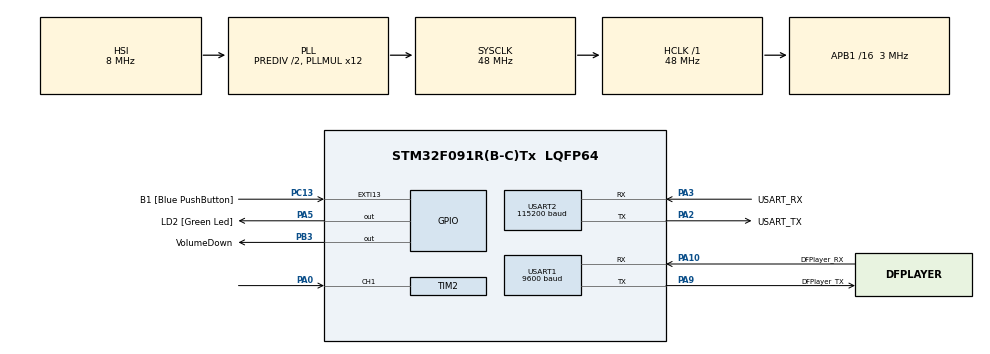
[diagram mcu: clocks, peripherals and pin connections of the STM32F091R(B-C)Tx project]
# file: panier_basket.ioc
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Mcu.Family=STM32F0
PA2.GPIO_PuPd=GPIO_NOPULL
TIM2.Channel-Input_Capture1_from_TI1=TIM_CHANNEL_1
PA10.Mode=Asynchronous
USART1.BaudRate=9600
PC15OSC32_OUT.Signal=RCC_OSC32_OUT
PC13.Signal=GPXTI13
PA9.GPIO_Label=DFPlayer_TX
PA14.GPIO_Label=TCK
PA3.GPIO_PuPd=GPIO_NOPULL
PA2.GPIO_Speed=GPIO_SPEED_FREQ_LOW
VP_TIM16_VS_ClockSourceINT.Mode=Enable_Timer
NVIC.TIM16_IRQn=true\:1\:0\:true\:false\:true\:true\:true
PC13.GPIO_Label=B1 [Blue PushButton]
RCC.APB1CLKDivider=RCC_HCLK_DIV16
PC15OSC32_OUT.Mode=LSE-External-Oscillator
PA3.GPIO_Speed=GPIO_SPEED_FREQ_LOW
USART2.BaudRate=115200
RCC.SYSCLKSource=RCC_SYSCLKSOURCE_PLLCLK
ProjectManager.StackSize=0x400
USART1.VirtualMode-Asynchronous=VM_ASYNC
PA3.Mode=Asynchronous
PA13.Signal=SYS_SWDIO
PA9.Mode=Asynchronous
ProjectManager.TargetToolchain=STM32CubeIDE
PB3.PinState=GPIO_PIN_SET
PA3.GPIO_Mode=GPIO_MODE_AF_PP
RCC.HCLKFreq_Value=48000000
PA9.Signal=USART1_TX
RCC.PLLDivider=RCC_PREDIV_DIV2
RCC.AHBFreq_Value=48000000
PF0-OSC_IN.Mode=HSE-External-Clock-Source
RCC.PREFETCH_ENABLE-AdvancedSettings=1
PA5.Signal=GPIO_Output
board=NUCLEO-F091RC
USART2.VirtualMode-Asynchronous=VM_ASYNC
RCC.PLLMUL=RCC_PLL_MUL12
TIM16.Period=3000 - 1
PB3.GPIO_PuPd=GPIO_PULLUP
VP_TIM2_VS_ClockSourceINT.Mode=Internal
PA14.Mode=Serial_Wire
PA5.GPIO_PuPd=GPIO_NOPULL
NVIC.TIM2_IRQn=true\:0\:0\:false\:false\:true\:true\:true
PA10.GPIO_Label=DFPlayer_RX
PA13.Mode=Serial_Wire
Mcu.Name=STM32F091R(B-C)Tx
PA2.Signal=USART2_TX
PA13.GPIO_Label=TMS
PA0.Signal=S_TIM2_CH1_ETR
RCC.FLatency-AdvancedSettings=FLASH_LATENCY_1
PC14OSC32_IN.Mode=LSE-External-Oscillator
PB3.Signal=GPIO_Output
RCC.SYSCLKFreq_VALUE=48000000
Mcu.Package=LQFP64
TIM2.Prescaler=6 - 1
PA5.GPIO_Label=LD2 [Green Led]
PC13.GPIO_ModeDefaultEXTI=GPIO_MODE_IT_FALLING
USART2.VirtualMode=VM_ASYNC
PA2.GPIO_Label=USART_TX
SH.S_TIM2_CH1_ETR.0=TIM2_CH1,Input_Capture1_from_TI1
PA10.Signal=USART1_RX
PA14.Signal=SYS_SWCLK
ProjectManager.HeapSize=0x200
PA5.GPIO_Speed=GPIO_SPEED_FREQ_LOW
RCC.APB1TimFreq_Value=6000000
PA2.Mode=Asynchronous
TIM2.AutoReloadPreload=TIM_AUTORELOAD_PRELOAD_ENABLE
TIM16.Prescaler=60000 - 1
PF0-OSC_IN.Signal=RCC_OSC_IN
NVIC.USART1_IRQn=true\:1\:0\:true\:false\:true\:true\:true
RCC.APB1Freq_Value=3000000
PA5.GPIO_Mode=GPIO_MODE_OUTPUT_PP
PF1-OSC_OUT.Signal=RCC_OSC_OUT
NVIC.EXTI4_15_IRQn=true\:1\:0\:true\:false\:true\:true\:true
PC14OSC32_IN.Signal=RCC_OSC32_IN
PB3.GPIO_ModeDefaultOutputPP=GPIO_MODE_OUTPUT_OD
PA3.GPIO_Label=USART_RX
PA3.Signal=USART2_RX
PA2.GPIO_Mode=GPIO_MODE_AF_PP
PB3.GPIO_Label=VolumeDown

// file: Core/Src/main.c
/* USER CODE BEGIN Header */
/**
 ******************************************************************************
 * @file           : main.c
 * @brief          : Main program body
 ******************************************************************************
 * @attention
 *
 * <h2><center>&copy; Copyright (c) 2021 STMicroelectronics.
 * All rights reserved.</center></h2>
 *
 * This software component is licensed by ST under BSD 3-Clause license,
 * the "License"; You may not use this file except in compliance with the
 * License. You may obtain a copy of the License at:
 *                        opensource.org/licenses/BSD-3-Clause
 *
 ******************************************************************************
 */
/* USER CODE END Header */
#include "main.h"
#include "tim.h"
#include "usart.h"
#include "gpio.h"

/* USER CODE BEGIN PV */
u8 led_state = 0u;
u8 button_1 = 0u;
u8 rxDFP[10] = {0u};
/* USER CODE END PV */

void SystemClock_Config(void);

int main(void)
{

  /* MCU Configuration--------------------------------------------------------*/

  /* Reset of all peripherals, Initializes the Flash interface and the Systick. */
  HAL_Init();

  /* Configure the system clock */
  SystemClock_Config();

  /* Initialize all configured peripherals */
  MX_GPIO_Init();
  MX_USART2_UART_Init();
  MX_USART1_UART_Init();
  MX_TIM16_Init();
  MX_TIM2_Init();
  /* USER CODE BEGIN 2 */
	new_line(); new_line();
	print_string("Start"); new_line();
	HAL_Delay(300);
#if DFP_ON
	dfp_init();
#endif // DFP_ON
  /* USER CODE END 2 */

  /* Infinite loop */
  /* USER CODE BEGIN WHILE */
	while (1)
	{
#if 0
		dfp_play();
		HAL_Delay(3000);
		HAL_GPIO_TogglePin(LD2_GPIO_Port, LD2_Pin);
		led_state = HAL_GPIO_ReadPin(LD2_GPIO_Port, LD2_Pin);
		dfp_pause();
		HAL_Delay(1000);
		HAL_GPIO_TogglePin(LD2_GPIO_Port, LD2_Pin);
		led_state = HAL_GPIO_ReadPin(LD2_GPIO_Port, LD2_Pin);
#elif 0
		button_1 = HAL_GPIO_ReadPin(B1_GPIO_Port, B1_Pin);
		if (button_1 == 0u)
		{
			dfp_set_random_playback();
			HAL_UART_Receive_IT(&huart1, rxDFP, 10);
			HAL_GPIO_TogglePin(LD2_GPIO_Port, LD2_Pin);
			HAL_Delay(2000);
		}
#elif 0
		led_state = HAL_GPIO_ReadPin(LD2_GPIO_Port, LD2_Pin);
#endif

    /* USER CODE END WHILE */

	}
}

void SystemClock_Config(void)
{
  RCC_OscInitTypeDef RCC_OscInitStruct = {0};
  RCC_ClkInitTypeDef RCC_ClkInitStruct = {0};
  RCC_PeriphCLKInitTypeDef PeriphClkInit = {0};

  /** Initializes the RCC Oscillators according to the specified parameters
  * in the RCC_OscInitTypeDef structure.
  */
  RCC_OscInitStruct.OscillatorType = RCC_OSCILLATORTYPE_HSI;
  RCC_OscInitStruct.HSIState = RCC_HSI_ON;
  RCC_OscInitStruct.HSICalibrationValue = RCC_HSICALIBRATION_DEFAULT;
  RCC_OscInitStruct.PLL.PLLState = RCC_PLL_ON;
  RCC_OscInitStruct.PLL.PLLSource = RCC_PLLSOURCE_HSI;
  RCC_OscInitStruct.PLL.PLLMUL = RCC_PLL_MUL12;
  RCC_OscInitStruct.PLL.PREDIV = RCC_PREDIV_DIV2;
  if (HAL_RCC_OscConfig(&RCC_OscInitStruct) != HAL_OK)
  {
    Error_Handler();
  }
  /** Initializes the CPU, AHB and APB buses clocks
  */
  RCC_ClkInitStruct.ClockType = RCC_CLOCKTYPE_HCLK|RCC_CLOCKTYPE_SYSCLK
                              |RCC_CLOCKTYPE_PCLK1;
  RCC_ClkInitStruct.SYSCLKSource = RCC_SYSCLKSOURCE_PLLCLK;
  RCC_ClkInitStruct.AHBCLKDivider = RCC_SYSCLK_DIV1;
  RCC_ClkInitStruct.APB1CLKDivider = RCC_HCLK_DIV16;

  if (HAL_RCC_ClockConfig(&RCC_ClkInitStruct, FLASH_LATENCY_1) != HAL_OK)
  {
    Error_Handler();
  }
  PeriphClkInit.PeriphClockSelection = RCC_PERIPHCLK_USART1|RCC_PERIPHCLK_USART2;
  PeriphClkInit.Usart1ClockSelection = RCC_USART1CLKSOURCE_PCLK1;
  PeriphClkInit.Usart2ClockSelection = RCC_USART2CLKSOURCE_PCLK1;
  if (HAL_RCCEx_PeriphCLKConfig(&PeriphClkInit) != HAL_OK)
  {
    Error_Handler();
  }
}

/* USER CODE BEGIN 4 */

/**
 *
 */
void end_of_song(void)
{
	HAL_GPIO_TogglePin(LD2_GPIO_Port, LD2_Pin);
	HAL_UART_AbortReceive_IT(&huart1);	// stop receive from DFP
	timer_stop(&htim16, 1); // stop running timer
#if DFP_ON
	dfp_pause();
	HAL_Delay(100);
#endif // DFP_ON
}
/* USER CODE END 4 */

void Error_Handler(void)
{
	__disable_irq();
	while (1)
	{
	}
}

/************************ (C) COPYRIGHT STMicroelectronics *****END OF FILE****/
